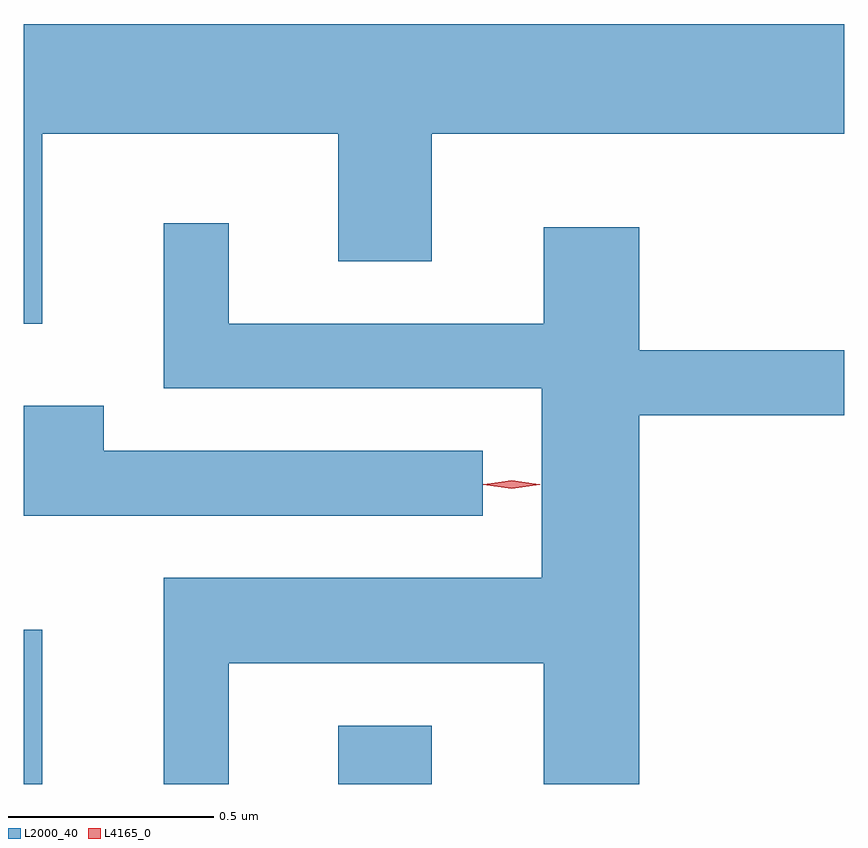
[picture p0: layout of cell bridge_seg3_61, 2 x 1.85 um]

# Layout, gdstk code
import gdstk
lib = gdstk.Library(unit=1e-6, precision=1e-09)
def R(c, l, rs):  # rectangles x0, y0, x1, y1
    for r in rs: c.add(gdstk.rectangle(r[:2], r[2:], *l))
def P(c, l, *ps):  # polygons
    for p in ps: c.add(gdstk.Polygon(p, *l))
L2000_40 = (2000, 40)
L4165_0 = (4165, 0)

bridge_seg3_61 = lib.new_cell('bridge_seg3_61')
R(bridge_seg3_61, L2000_40, [(1178.954,1186.592,1178.999,1186.968), (1179.721,1186.592,1179.949,1186.734)])
P(bridge_seg3_61, L2000_40, [(1178.999,1188.176),(1179.721,1188.176),(1179.721,1187.866),(1179.949,1187.866),(1179.949,1188.176),(1180.954,1188.176),(1180.954,1188.444),(1178.954,1188.444),(1178.954,1187.713),(1178.999,1187.713)],
  [(1179.454,1186.886),(1180.221,1186.886),(1180.221,1186.592),(1180.454,1186.592),(1180.454,1187.491),(1180.954,1187.491),(1180.954,1187.649),(1180.454,1187.649),(1180.454,1187.949),(1180.221,1187.949),(1180.221,1187.714),(1179.454,1187.714),(1179.454,1187.958),(1179.296,1187.958),(1179.296,1187.556),(1180.216,1187.556),(1180.216,1187.094),(1179.296,1187.094),(1179.296,1186.592),(1179.454,1186.592)],
  [(1180.073,1187.404),(1179.149,1187.404),(1179.149,1187.514),(1178.954,1187.514),(1178.954,1187.246),(1180.073,1187.246)])
P(bridge_seg3_61, L4165_0, [(1180.143,1187.312),(1180.074,1187.321),(1180.074,1187.322),(1180.074,1187.322),(1180.144,1187.331),(1180.212,1187.322),(1180.213,1187.321),(1180.212,1187.321)],
  [(1180.143,1187.312),(1180.078,1187.322),(1180.077,1187.322),(1180.078,1187.323),(1180.143,1187.332),(1180.209,1187.323),(1180.209,1187.322),(1180.209,1187.322)])

lib.write_gds('bridge_seg3_61.gds')
